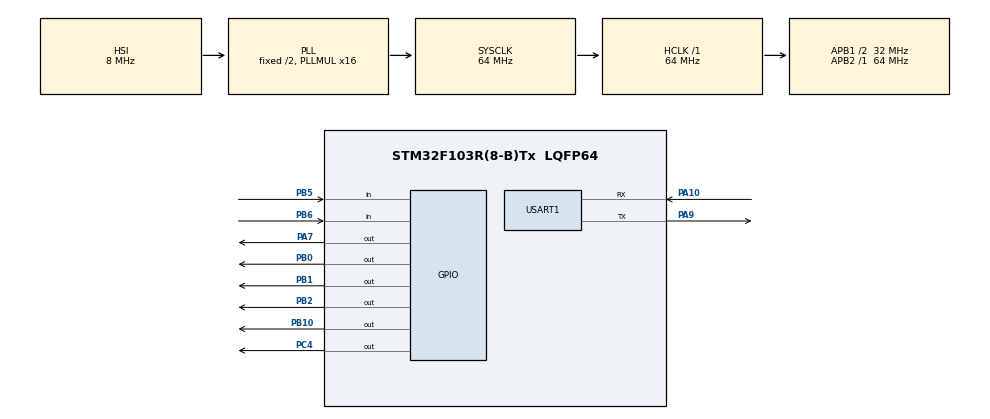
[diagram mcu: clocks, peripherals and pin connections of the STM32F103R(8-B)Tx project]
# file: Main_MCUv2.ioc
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Mcu.Family=STM32F1
Mcu.Name=STM32F103R(8-B)Tx
Mcu.Package=LQFP64
NVIC.PriorityGroup=NVIC_PRIORITYGROUP_4
NVIC.TIM2_IRQn=true\:0\:0\:false\:false\:true\:true\:true
NVIC.TIM3_IRQn=true\:0\:0\:false\:false\:true\:true\:true
NVIC.USART1_IRQn=true\:0\:0\:false\:false\:true\:true\:true
PA10.Mode=Asynchronous
PA10.Signal=USART1_RX
PA13.Mode=Serial_Wire
PA13.Signal=SYS_JTMS-SWDIO
PA14.Mode=Serial_Wire
PA14.Signal=SYS_JTCK-SWCLK
PA7.Signal=GPIO_Output
PA9.Mode=Asynchronous
PA9.Signal=USART1_TX
PB0.Signal=GPIO_Output
PB1.Signal=GPIO_Output
PB10.Signal=GPIO_Output
PB2.Signal=GPIO_Output
PB5.GPIO_PuPd=GPIO_PULLUP
PB5.Signal=GPIO_Input
PB6.GPIO_PuPd=GPIO_PULLUP
PB6.Signal=GPIO_Input
PC14-OSC32_IN.Mode=LSE-External-Oscillator
PC14-OSC32_IN.Signal=RCC_OSC32_IN
PC15-OSC32_OUT.Mode=LSE-External-Oscillator
PC15-OSC32_OUT.Signal=RCC_OSC32_OUT
PC4.Signal=GPIO_Output
PD0-OSC_IN.Mode=HSE-External-Clock-Source
PD0-OSC_IN.Signal=RCC_OSC_IN
PD1-OSC_OUT.Mode=HSE-External-Clock-Source
PD1-OSC_OUT.Signal=RCC_OSC_OUT
ProjectManager.HeapSize=0x200
ProjectManager.StackSize=0x400
ProjectManager.TargetToolchain=TrueSTUDIO
RCC.AHBFreq_Value=64000000
RCC.APB1CLKDivider=RCC_HCLK_DIV2
RCC.APB1Freq_Value=32000000
RCC.APB1TimFreq_Value=64000000
RCC.APB2Freq_Value=64000000
RCC.APB2TimFreq_Value=64000000
RCC.HCLKFreq_Value=64000000
RCC.PLLMUL=RCC_PLL_MUL16
RCC.SYSCLKFreq_VALUE=64000000
RCC.SYSCLKSource=RCC_SYSCLKSOURCE_PLLCLK
RCC.USBFreq_Value=64000000
TIM2.Period=999
TIM2.Prescaler=63999
TIM3.Period=499
TIM3.Prescaler=639
USART1.VirtualMode=VM_ASYNC
VP_TIM2_VS_ClockSourceINT.Mode=Internal
VP_TIM3_VS_ClockSourceINT.Mode=Internal
board=custom

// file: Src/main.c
/* USER CODE BEGIN Header */
/**
  ******************************************************************************
  * @file           : main.c
  * @brief          : Main program body
  ******************************************************************************
  * @attention
  *
  * <h2><center>&copy; Copyright (c) 2019 STMicroelectronics.
  * All rights reserved.</center></h2>
  *
  * This software component is licensed by ST under BSD 3-Clause license,
  * the "License"; You may not use this file except in compliance with the
  * License. You may obtain a copy of the License at:
  *                        opensource.org/licenses/BSD-3-Clause
  *
  ******************************************************************************
  */
/* USER CODE END Header */

#include "main.h"

/* USER CODE BEGIN Includes */
/*void MakeStep(uint8_t step){
	if(step == 1){
		HAL_GPIO_WritePin(GPIOC, GPIO_PIN_4,GPIO_PIN_SET);
		HAL_GPIO_WritePin(GPIOC, GPIO_PIN_4,GPIO_PIN_RESET);
	}
	else{
		HAL_GPIO_WritePin(GPIOC, GPIO_PIN_4,GPIO_PIN_RESET);
	}
}*/
/* USER CODE END Includes */

TIM_HandleTypeDef htim2;
TIM_HandleTypeDef htim3;

UART_HandleTypeDef huart1;

/* USER CODE BEGIN PV */
uint8_t DataTx[4];						// 4 elementowa tablica wysy³aj¹ca dane
uint8_t DataRx[4];						// 4 elementowa tablica odbieraj¹ca dane
uint16_t Diameter;						// Œrednica nominalna ruroci¹gu
uint16_t SetPosition;					// Zadana pozycja sondy
uint16_t  Position;						// Aktualna pozycja sondy
uint8_t UpperLimitState;						// Stan górnej krañcówki
uint8_t LowerLimitState;						// Stan dolnej krañcówki
uint8_t Reset;							// Informacja o zerowaniu pozycji sondy
uint8_t CalibrationState = 0;					// Stan kalibracji
/* USER CODE END PV */

void SystemClock_Config(void);
static void MX_GPIO_Init(void);
static void MX_USART1_UART_Init(void);
static void MX_TIM2_Init(void);
static void MX_TIM3_Init(void);
/* USER CODE BEGIN PFP */
void SetDir(uint8_t);
void MakeStep(uint8_t);

/* USER CODE END PFP */

int main(void)
{

  /* MCU Configuration--------------------------------------------------------*/

  /* Reset of all peripherals, Initializes the Flash interface and the Systick. */
  HAL_Init();

  /* Configure the system clock */
  SystemClock_Config();

  /* Initialize all configured peripherals */
  MX_GPIO_Init();
  MX_USART1_UART_Init();
  MX_TIM2_Init();
  MX_TIM3_Init();
  /* USER CODE BEGIN 2 */

  HAL_UART_Receive_IT(&huart1, DataRx, 4);
  HAL_TIM_Base_Start_IT(&htim2);
  HAL_TIM_Base_Start_IT(&htim3);

  /* USER CODE END 2 */

  /* Infinite loop */
  while (1)
  {

  }
}

void SystemClock_Config(void)
{
  RCC_OscInitTypeDef RCC_OscInitStruct = {0};
  RCC_ClkInitTypeDef RCC_ClkInitStruct = {0};

  /** Initializes the CPU, AHB and APB busses clocks
  */
  RCC_OscInitStruct.OscillatorType = RCC_OSCILLATORTYPE_HSI;
  RCC_OscInitStruct.HSIState = RCC_HSI_ON;
  RCC_OscInitStruct.HSICalibrationValue = RCC_HSICALIBRATION_DEFAULT;
  RCC_OscInitStruct.PLL.PLLState = RCC_PLL_ON;
  RCC_OscInitStruct.PLL.PLLSource = RCC_PLLSOURCE_HSI_DIV2;
  RCC_OscInitStruct.PLL.PLLMUL = RCC_PLL_MUL16;
  if (HAL_RCC_OscConfig(&RCC_OscInitStruct) != HAL_OK)
  {
    Error_Handler();
  }
  /** Initializes the CPU, AHB and APB busses clocks
  */
  RCC_ClkInitStruct.ClockType = RCC_CLOCKTYPE_HCLK|RCC_CLOCKTYPE_SYSCLK
                              |RCC_CLOCKTYPE_PCLK1|RCC_CLOCKTYPE_PCLK2;
  RCC_ClkInitStruct.SYSCLKSource = RCC_SYSCLKSOURCE_PLLCLK;
  RCC_ClkInitStruct.AHBCLKDivider = RCC_SYSCLK_DIV1;
  RCC_ClkInitStruct.APB1CLKDivider = RCC_HCLK_DIV2;
  RCC_ClkInitStruct.APB2CLKDivider = RCC_HCLK_DIV1;

  if (HAL_RCC_ClockConfig(&RCC_ClkInitStruct, FLASH_LATENCY_2) != HAL_OK)
  {
    Error_Handler();
  }
}

static void MX_TIM2_Init(void)
{

  TIM_ClockConfigTypeDef sClockSourceConfig = {0};
  TIM_MasterConfigTypeDef sMasterConfig = {0};

  htim2.Instance = TIM2;
  htim2.Init.Prescaler = 63999;
  htim2.Init.CounterMode = TIM_COUNTERMODE_UP;
  htim2.Init.Period = 999;
  htim2.Init.ClockDivision = TIM_CLOCKDIVISION_DIV1;
  htim2.Init.AutoReloadPreload = TIM_AUTORELOAD_PRELOAD_DISABLE;
  if (HAL_TIM_Base_Init(&htim2) != HAL_OK)
  {
    Error_Handler();
  }
  sClockSourceConfig.ClockSource = TIM_CLOCKSOURCE_INTERNAL;
  if (HAL_TIM_ConfigClockSource(&htim2, &sClockSourceConfig) != HAL_OK)
  {
    Error_Handler();
  }
  sMasterConfig.MasterOutputTrigger = TIM_TRGO_RESET;
  sMasterConfig.MasterSlaveMode = TIM_MASTERSLAVEMODE_DISABLE;
  if (HAL_TIMEx_MasterConfigSynchronization(&htim2, &sMasterConfig) != HAL_OK)
  {
    Error_Handler();
  }

}

static void MX_TIM3_Init(void)
{

  TIM_ClockConfigTypeDef sClockSourceConfig = {0};
  TIM_MasterConfigTypeDef sMasterConfig = {0};

  htim3.Instance = TIM3;
  htim3.Init.Prescaler = 639;
  htim3.Init.CounterMode = TIM_COUNTERMODE_UP;
  htim3.Init.Period = 499;
  htim3.Init.ClockDivision = TIM_CLOCKDIVISION_DIV1;
  htim3.Init.AutoReloadPreload = TIM_AUTORELOAD_PRELOAD_DISABLE;
  if (HAL_TIM_Base_Init(&htim3) != HAL_OK)
  {
    Error_Handler();
  }
  sClockSourceConfig.ClockSource = TIM_CLOCKSOURCE_INTERNAL;
  if (HAL_TIM_ConfigClockSource(&htim3, &sClockSourceConfig) != HAL_OK)
  {
    Error_Handler();
  }
  sMasterConfig.MasterOutputTrigger = TIM_TRGO_RESET;
  sMasterConfig.MasterSlaveMode = TIM_MASTERSLAVEMODE_DISABLE;
  if (HAL_TIMEx_MasterConfigSynchronization(&htim3, &sMasterConfig) != HAL_OK)
  {
    Error_Handler();
  }

}

static void MX_USART1_UART_Init(void)
{

  huart1.Instance = USART1;
  huart1.Init.BaudRate = 115200;
  huart1.Init.WordLength = UART_WORDLENGTH_8B;
  huart1.Init.StopBits = UART_STOPBITS_1;
  huart1.Init.Parity = UART_PARITY_NONE;
  huart1.Init.Mode = UART_MODE_TX_RX;
  huart1.Init.HwFlowCtl = UART_HWCONTROL_NONE;
  huart1.Init.OverSampling = UART_OVERSAMPLING_16;
  if (HAL_UART_Init(&huart1) != HAL_OK)
  {
    Error_Handler();
  }

}

static void MX_GPIO_Init(void)
{
  GPIO_InitTypeDef GPIO_InitStruct = {0};

  /* GPIO Ports Clock Enable */
  __HAL_RCC_GPIOC_CLK_ENABLE();
  __HAL_RCC_GPIOD_CLK_ENABLE();
  __HAL_RCC_GPIOA_CLK_ENABLE();
  __HAL_RCC_GPIOB_CLK_ENABLE();

  /*Configure GPIO pin Output Level */
  HAL_GPIO_WritePin(GPIOA, GPIO_PIN_7, GPIO_PIN_RESET);

  /*Configure GPIO pin Output Level */
  HAL_GPIO_WritePin(GPIOC, GPIO_PIN_4, GPIO_PIN_RESET);

  /*Configure GPIO pin Output Level */
  HAL_GPIO_WritePin(GPIOB, GPIO_PIN_0|GPIO_PIN_1|GPIO_PIN_2|GPIO_PIN_10, GPIO_PIN_RESET);

  /*Configure GPIO pin : PA7 */
  GPIO_InitStruct.Pin = GPIO_PIN_7;
  GPIO_InitStruct.Mode = GPIO_MODE_OUTPUT_PP;
  GPIO_InitStruct.Pull = GPIO_NOPULL;
  GPIO_InitStruct.Speed = GPIO_SPEED_FREQ_LOW;
  HAL_GPIO_Init(GPIOA, &GPIO_InitStruct);

  /*Configure GPIO pin : PC4 */
  GPIO_InitStruct.Pin = GPIO_PIN_4;
  GPIO_InitStruct.Mode = GPIO_MODE_OUTPUT_PP;
  GPIO_InitStruct.Pull = GPIO_NOPULL;
  GPIO_InitStruct.Speed = GPIO_SPEED_FREQ_LOW;
  HAL_GPIO_Init(GPIOC, &GPIO_InitStruct);

  /*Configure GPIO pins : PB0 PB1 PB2 PB10 */
  GPIO_InitStruct.Pin = GPIO_PIN_0|GPIO_PIN_1|GPIO_PIN_2|GPIO_PIN_10;
  GPIO_InitStruct.Mode = GPIO_MODE_OUTPUT_PP;
  GPIO_InitStruct.Pull = GPIO_NOPULL;
  GPIO_InitStruct.Speed = GPIO_SPEED_FREQ_LOW;
  HAL_GPIO_Init(GPIOB, &GPIO_InitStruct);

  /*Configure GPIO pins : PB5 PB6 */
  GPIO_InitStruct.Pin = GPIO_PIN_5|GPIO_PIN_6;
  GPIO_InitStruct.Mode = GPIO_MODE_INPUT;
  GPIO_InitStruct.Pull = GPIO_PULLUP;
  HAL_GPIO_Init(GPIOB, &GPIO_InitStruct);

}

/* USER CODE BEGIN 4 */
void HAL_TIM_PeriodElapsedCallback(TIM_HandleTypeDef *htim){
	if(htim->Instance == TIM2){		//1s

		DataTx[0] = LowerLimitState;
		DataTx[1] = UpperLimitState;
		DataTx[2] = Position >> 8;
		DataTx[3] =	(Position & 0xFF);
		HAL_UART_Transmit_IT(&huart1, DataTx, 4);
	}

	if(htim->Instance == TIM3){		//0.5ms
		  UpperLimitState = ~HAL_GPIO_ReadPin(GPIOB, GPIO_PIN_5);
		  LowerLimitState = ~HAL_GPIO_ReadPin(GPIOB, GPIO_PIN_6);

		  switch(CalibrationState){
		  case 0:
			  SetDir(1);
			  CalibrationState++;
			  break;
		  case 1:
			  MakeStep(1);
			  if(UpperLimitState == 255){
				  SetDir(0);
				  CalibrationState++;
			  }
			  break;
		  case 2:
			  	  CalibrationState++;
				  Position = 0;
			  break;
		}

		 if(Reset == 1){
			 Position = 0;
		 }
		 if(CalibrationState == 3){
			if(SetPosition > Position && LowerLimitState == 254 && Position < 100*Diameter){
				SetDir(0);
				MakeStep(1);
				Position++;

			}else if(SetPosition < Position && UpperLimitState== 254){
				SetDir(1);
				MakeStep(1);
				Position--;
			}else{
				MakeStep(0);
			}
		 }
	}

}

void SetDir(uint8_t dir){
	if(dir == 1){
		HAL_GPIO_WritePin(GPIOA, GPIO_PIN_7, GPIO_PIN_RESET); // góra
	}else{
		HAL_GPIO_WritePin(GPIOA, GPIO_PIN_7, GPIO_PIN_SET); // dó³
	}
}

void MakeStep(uint8_t step){
	if(step == 1){
		HAL_GPIO_WritePin(GPIOC, GPIO_PIN_4, GPIO_PIN_SET);
		HAL_GPIO_WritePin(GPIOC, GPIO_PIN_4, GPIO_PIN_RESET);
	}else{
		HAL_GPIO_WritePin(GPIOC, GPIO_PIN_4, GPIO_PIN_RESET);
	}
}

void HAL_UART_RxCpltCallback(UART_HandleTypeDef *huart) {
	Diameter = DataRx[0];
	SetPosition = DataRx[1] << 8 | DataRx[2];
	Reset = DataRx[3];

	HAL_UART_Receive_IT(&huart1, DataRx, 4);
}
/* USER CODE END 4 */

void Error_Handler(void)
{
}

/************************ (C) COPYRIGHT STMicroelectronics *****END OF FILE****/
